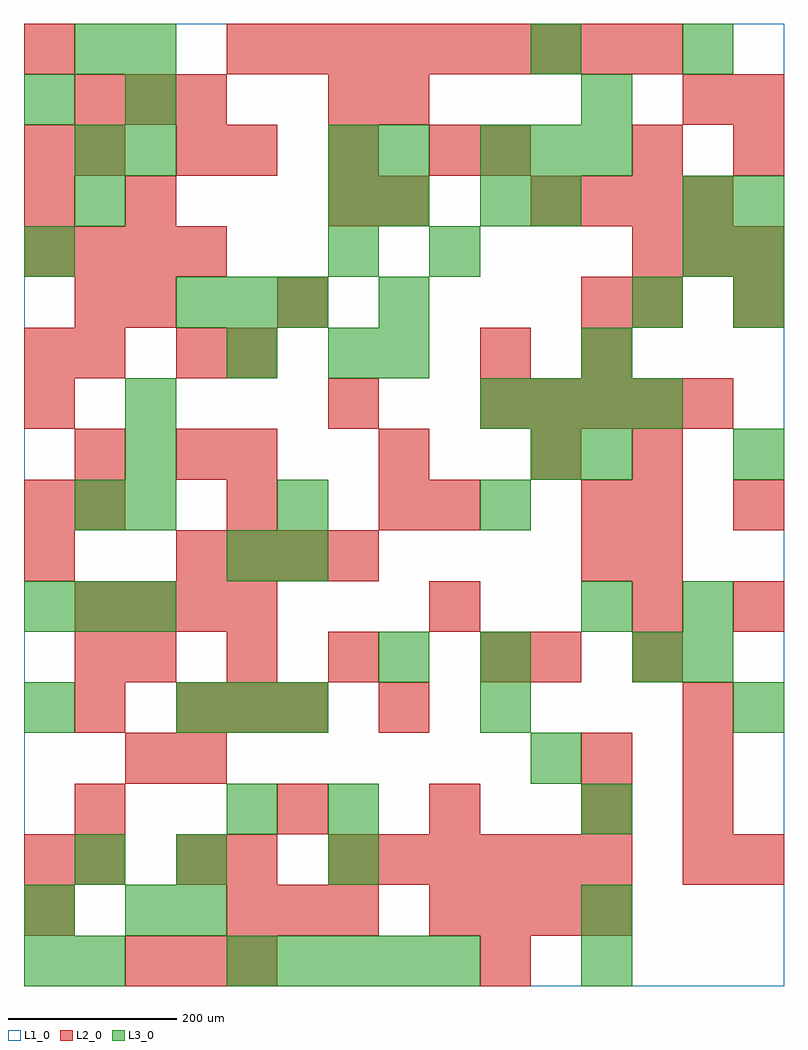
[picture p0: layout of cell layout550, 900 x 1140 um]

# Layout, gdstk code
import gdstk
lib = gdstk.Library(unit=1e-6, precision=1e-09)
def R(c, l, rs):  # rectangles x0, y0, x1, y1
    for r in rs: c.add(gdstk.rectangle(r[:2], r[2:], *l))
def A(c, l, x, y, w, h, nx, ny, dx, dy):  # array of equal rectangles
    R(c, l, [(x+i*dx, y+j*dy, x+i*dx+w, y+j*dy+h) for i in range(nx) for j in range(ny)])
L1_0 = (1, 0)
L2_0 = (2, 0)
L3_0 = (3, 0)

layout550 = lib.new_cell('layout550')
R(layout550, L1_0, [(0,0,900,1140)])
A(layout550, L2_0, 120, 0, 60, 60, 3, 1, 60, 0)
A(layout550, L2_0, 540, 0, 60, 60, 1, 3, 0, 360)
A(layout550, L2_0, 240, 60, 60, 60, 3, 1, 60, 0)
A(layout550, L2_0, 480, 60, 60, 60, 4, 1, 60, 0)
A(layout550, L2_0, 360, 120, 60, 60, 6, 1, 60, 0)
A(layout550, L2_0, 780, 120, 60, 60, 1, 4, 0, 60)
A(layout550, L2_0, 300, 180, 60, 60, 3, 1, 180, 0)
A(layout550, L2_0, 180, 300, 60, 60, 3, 1, 60, 0)
A(layout550, L2_0, 120, 360, 60, 60, 3, 1, 120, 0)
A(layout550, L2_0, 720, 360, 60, 60, 1, 5, 0, 60)
A(layout550, L2_0, 60, 420, 60, 60, 4, 1, 60, 0)
A(layout550, L2_0, 180, 480, 60, 60, 4, 1, 60, 0)
A(layout550, L2_0, 60, 540, 60, 60, 3, 1, 180, 0)
A(layout550, L2_0, 240, 600, 60, 60, 3, 1, 180, 0)
A(layout550, L2_0, 540, 660, 60, 60, 5, 1, 60, 0)
A(layout550, L2_0, 0, 840, 60, 60, 4, 1, 60, 0)
A(layout550, L2_0, 720, 840, 60, 60, 3, 1, 60, 0)
A(layout550, L2_0, 600, 900, 60, 60, 4, 1, 60, 0)
A(layout550, L2_0, 240, 960, 60, 60, 3, 1, 120, 0)
A(layout550, L2_0, 60, 1020, 60, 60, 3, 1, 60, 0)
A(layout550, L2_0, 240, 1080, 60, 60, 9, 1, 60, 0)
R(layout550, L2_0, [(0,60,60,120), (0,120,60,180), (60,120,120,180), (180,120,240,180), (240,120,300,180), (840,120,900,180), (60,180,120,240), (120,240,180,300), (180,240,240,300), (660,240,720,300), (60,300,120,360), (420,300,480,360), (60,360,120,420), (600,360,660,420), (480,420,540,480), (840,420,900,480), (0,480,60,540), (660,480,720,540), (0,540,60,600), (480,540,540,600), (660,540,720,600), (840,540,900,600), (60,600,120,660), (180,600,240,660), (0,660,60,720), (360,660,420,720), (0,720,60,780), (60,720,120,780), (180,720,240,780), (240,720,300,780), (660,720,720,780), (60,780,120,840), (120,780,180,840), (300,780,360,840), (660,780,720,840), (720,780,780,840), (840,780,900,840), (0,900,60,960), (120,900,180,960), (360,900,420,960), (420,900,480,960), (0,960,60,1020), (60,960,120,1020), (180,960,240,1020), (540,960,600,1020), (720,960,780,1020), (840,960,900,1020), (360,1020,420,1080), (420,1020,480,1080), (780,1020,840,1080), (840,1020,900,1080), (0,1080,60,1140)])
A(layout550, L3_0, 240, 0, 60, 60, 5, 1, 60, 0)
A(layout550, L3_0, 180, 300, 60, 60, 3, 2, 60, 480)
A(layout550, L3_0, 0, 420, 60, 60, 3, 1, 60, 0)
A(layout550, L3_0, 120, 540, 60, 60, 1, 3, 0, 60)
A(layout550, L3_0, 540, 660, 60, 60, 4, 1, 60, 0)
A(layout550, L3_0, 840, 780, 60, 60, 1, 3, 0, 60)
A(layout550, L3_0, 360, 840, 60, 60, 1, 3, 0, 60)
A(layout550, L3_0, 120, 960, 60, 60, 1, 3, 0, 60)
A(layout550, L3_0, 540, 960, 60, 60, 3, 1, 60, 0)
R(layout550, L3_0, [(0,0,60,60), (60,0,120,60), (660,0,720,60), (0,60,60,120), (120,60,180,120), (180,60,240,120), (660,60,720,120), (60,120,120,180), (180,120,240,180), (360,120,420,180), (240,180,300,240), (360,180,420,240), (660,180,720,240), (600,240,660,300), (0,300,60,360), (540,300,600,360), (840,300,900,360), (420,360,480,420), (540,360,600,420), (720,360,780,420), (780,360,840,420), (660,420,720,480), (780,420,840,480), (240,480,300,540), (300,480,360,540), (60,540,120,600), (300,540,360,600), (540,540,600,600), (600,600,660,660), (660,600,720,660), (840,600,900,660), (240,720,300,780), (360,720,420,780), (420,720,480,780), (660,720,720,780), (420,780,480,840), (720,780,780,840), (0,840,60,900), (480,840,540,900), (780,840,840,900), (60,900,120,960), (420,900,480,960), (540,900,600,960), (600,900,660,960), (780,900,840,960), (60,960,120,1020), (420,960,480,1020), (0,1020,60,1080), (660,1020,720,1080), (60,1080,120,1140), (600,1080,660,1140), (780,1080,840,1140)])

lib.write_gds('layout550.gds')
